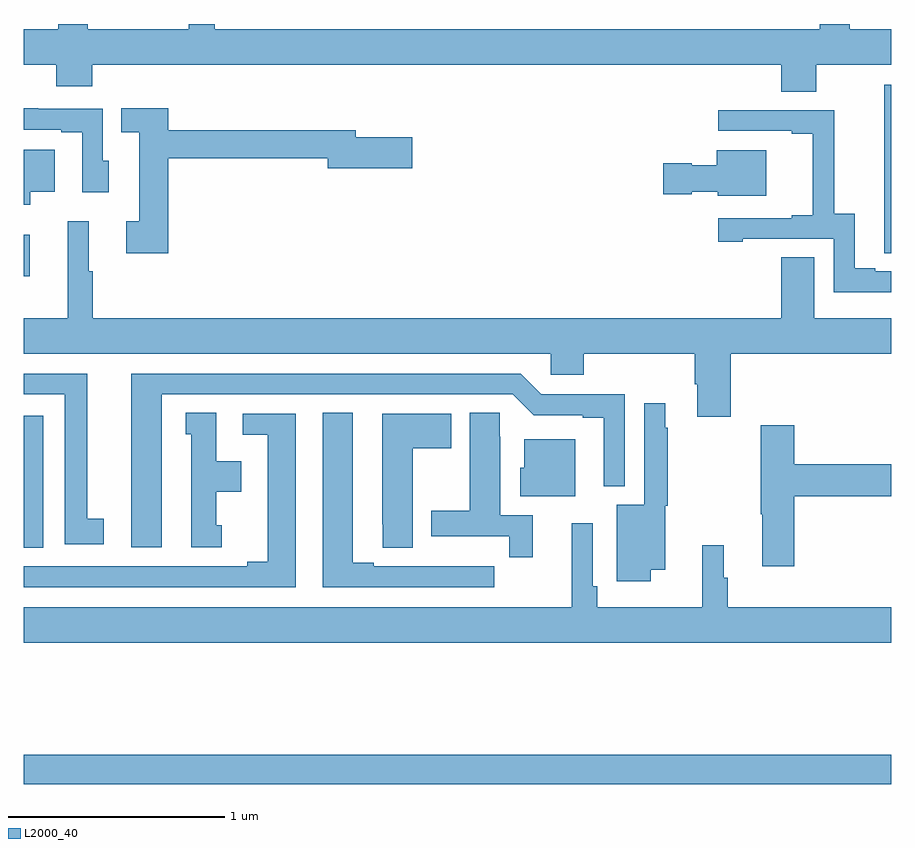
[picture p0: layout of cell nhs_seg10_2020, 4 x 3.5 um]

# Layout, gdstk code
import gdstk
lib = gdstk.Library(unit=1e-6, precision=1e-09)
def R(c, l, rs):  # rectangles x0, y0, x1, y1
    for r in rs: c.add(gdstk.rectangle(r[:2], r[2:], *l))
def P(c, l, *ps):  # polygons
    for p in ps: c.add(gdstk.Polygon(p, *l))
L2000_40 = (2000, 40)

nhs_seg10_2020 = lib.new_cell('nhs_seg10_2020')
R(nhs_seg10_2020, L2000_40, [(217,1300.996,221,1301.132), (217,1302.085,217.09,1302.693), (217,1303.338,217.027,1303.528)])
P(nhs_seg10_2020, L2000_40, [(220.653,1304.312),(221,1304.312),(221,1304.476),(220.809,1304.476),(220.809,1304.5),(220.671,1304.5),(220.671,1304.476),(217.88,1304.476),(217.88,1304.5),(217.762,1304.5),(217.762,1304.476),(217.295,1304.476),(217.295,1304.5),(217.159,1304.5),(217.159,1304.476),(217,1304.476),(217,1304.312),(217.151,1304.312),(217.151,1304.213),(217.316,1304.213),(217.316,1304.312),(220.493,1304.312),(220.493,1304.188),(220.653,1304.188)],
  [(221,1304.22),(220.967,1304.22),(220.967,1303.552),(220.968,1303.552),(220.968,1303.444),(221,1303.444)],
  [(217.393,1303.869),(217.365,1303.869),(217.365,1304.109),(217.067,1304.109),(217.067,1304.111),(217,1304.111),(217,1304.013),(217.172,1304.013),(217.172,1304.001),(217.269,1304.001),(217.269,1303.725),(217.393,1303.725)],
  [(217.667,1303.882),(218.402,1303.882),(218.402,1303.835),(218.791,1303.835),(218.791,1303.977),(218.53,1303.977),(218.53,1304.011),(217.667,1304.011),(217.667,1304.111),(217.45,1304.111),(217.45,1304.001),(217.532,1304.001),(217.532,1303.59),(217.473,1303.59),(217.473,1303.442),(217.667,1303.442)],
  [(221,1303.359),(220.927,1303.359),(220.927,1303.374),(220.831,1303.374),(220.831,1303.625),(220.737,1303.625),(220.737,1304.103),(220.203,1304.103),(220.203,1304.007),(220.541,1304.007),(220.541,1303.995),(220.637,1303.995),(220.637,1303.618),(220.541,1303.618),(220.541,1303.605),(220.203,1303.605),(220.203,1303.497),(220.315,1303.497),(220.315,1303.509),(220.734,1303.509),(220.734,1303.263),(221,1303.263)],
  [(217.03,1303.727),(217.144,1303.727),(217.144,1303.921),(217,1303.921),(217,1303.667),(217.03,1303.667)],
  [(220.423,1303.918),(220.196,1303.918),(220.196,1303.849),(220.08,1303.849),(220.08,1303.857),(219.948,1303.857),(219.948,1303.715),(220.08,1303.715),(220.08,1303.727),(220.2,1303.727),(220.2,1303.709),(220.423,1303.709)],
  [(220.259,1302.98),(221,1302.98),(221,1303.144),(220.645,1303.144),(220.645,1303.424),(220.493,1303.424),(220.493,1303.144),(217.319,1303.144),(217.319,1303.359),(217.3,1303.359),(217.3,1303.591),(217.202,1303.591),(217.202,1303.144),(217,1303.144),(217,1302.98),(219.429,1302.98),(219.429,1302.882),(219.581,1302.882),(219.581,1302.98),(220.094,1302.98),(220.094,1302.838),(220.106,1302.838),(220.106,1302.69),(220.259,1302.69)],
  [(217.636,1302.792),(219.255,1302.792),(219.351,1302.696),(219.578,1302.696),(219.578,1302.684),(219.674,1302.684),(219.674,1302.368),(219.771,1302.368),(219.771,1302.792),(219.387,1302.792),(219.291,1302.888),(217.496,1302.888),(217.496,1302.087),(217.636,1302.087)],
  [(217.369,1302.218),(217.294,1302.218),(217.294,1302.888),(217,1302.888),(217,1302.792),(217.19,1302.792),(217.19,1302.102),(217.369,1302.102)],
  [(219.892,1301.984),(219.958,1301.984),(219.958,1302.279),(219.97,1302.279),(219.97,1302.638),(219.958,1302.638),(219.958,1302.751),(219.861,1302.751),(219.861,1302.283),(219.734,1302.283),(219.734,1301.931),(219.892,1301.931)],
  [(219.347,1302.234),(219.196,1302.234),(219.196,1302.596),(219.195,1302.596),(219.195,1302.707),(219.056,1302.707),(219.056,1302.255),(218.879,1302.255),(218.879,1302.138),(219.238,1302.138),(219.238,1302.042),(219.347,1302.042)],
  [(219.169,1302),(219.056,1302),(219.056,1302.001),(218.89,1302.001),(218.89,1302),(218.614,1302),(218.614,1302.015),(218.518,1302.015),(218.518,1302.707),(218.378,1302.707),(218.378,1301.904),(219.169,1301.904)],
  [(217.912,1302.189),(217.888,1302.189),(217.888,1302.344),(218.002,1302.344),(218.002,1302.484),(217.888,1302.484),(217.888,1302.707),(217.748,1302.707),(217.748,1302.609),(217.772,1302.609),(217.772,1302.087),(217.912,1302.087)],
  [(218.794,1302.544),(218.971,1302.544),(218.971,1302.703),(218.654,1302.703),(218.654,1302.193),(218.655,1302.193),(218.655,1302.085),(218.794,1302.085)],
  [(218.254,1302.702),(218.01,1302.702),(218.01,1302.606),(218.126,1302.606),(218.126,1302.02),(218.03,1302.02),(218.03,1302),(217,1302),(217,1301.904),(218.254,1301.904)],
  [(220.553,1302.323),(221,1302.323),(221,1302.47),(220.553,1302.47),(220.553,1302.649),(220.399,1302.649),(220.399,1302.239),(220.406,1302.239),(220.406,1302),(220.553,1302)],
  [(219.544,1302.586),(219.308,1302.586),(219.308,1302.453),(219.29,1302.453),(219.29,1302.323),(219.544,1302.323)],
  [(221,1301.812),(220.247,1301.812),(220.247,1301.946),(220.228,1301.946),(220.228,1302.097),(220.129,1302.097),(220.129,1301.812),(219.644,1301.812),(219.644,1301.908),(219.624,1301.908),(219.624,1302.199),(219.527,1302.199),(219.527,1301.812),(217,1301.812),(217,1301.648),(221,1301.648)])

lib.write_gds('nhs_seg10_2020.gds')
